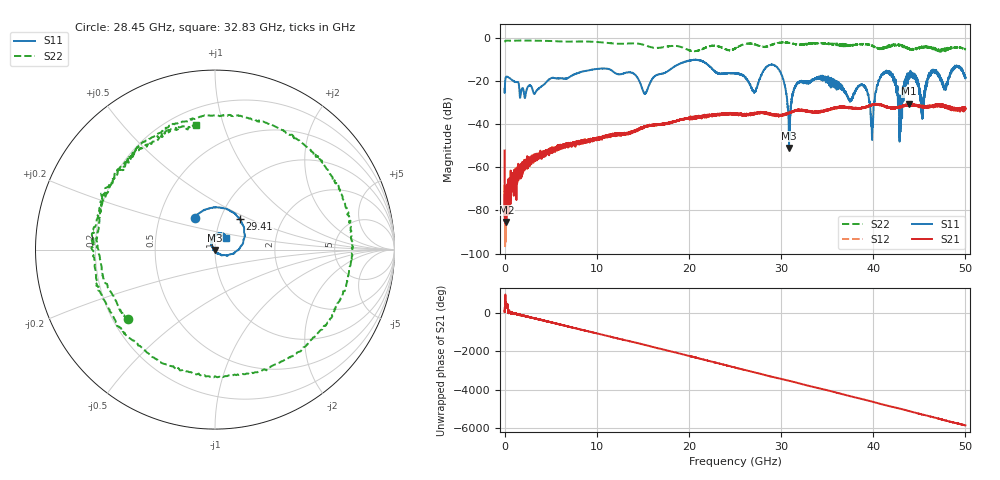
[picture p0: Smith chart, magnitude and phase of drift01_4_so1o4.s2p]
!Created with skrf (http://scikit-rf.org).
# Hz S RI R 50.0
!freq ReS11 ImS11 ReS21 ImS21 ReS12 ImS12 ReS22 ImS22
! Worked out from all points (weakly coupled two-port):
!   10001 points, 300 kHz to 50 GHz, reference 50 ohm
!   highest |S21| = -30.64 dB at 43.9 GHz (marker M1); lowest = -85.4 dB at 190.3 MHz (marker M2)
!   lowest |S11| = -51.1 dB at 30.87 GHz (marker M3), VSWR 1.01, Z = 49.8 - j0.228 ohm
!   |S11| at or under -10 dB: start of sweep to end of sweep
!   |S22| runs from -6.7 to -1.4 dB; largest |S21 - S12| = 0.0041
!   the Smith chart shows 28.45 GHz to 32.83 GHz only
!   S11 on the Smith chart (normalised r, x): 28.45 GHz: 0.75, +0.28; 29.41 GHz: 1.24, +0.44; 32.83 GHz: 1.12, +0.14
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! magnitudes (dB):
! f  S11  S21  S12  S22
! 300 kHz  -23.8  -52.3  -68.2  -2.1
! 190.3 MHz  -18.1  -85.4  -73.4  -1.4
! 2.4 GHz  -24.0  -58.0  -56.8  -1.4
! 8.335 GHz  -15.9  -48.4  -48.4  -1.8
! 15.23 GHz  -26.0  -41.3  -41.3  -3.6
! 16.67 GHz  -17.0  -40.2  -40.3  -4.8
! 25 GHz  -16.6  -35.2  -35.2  -5.2
! 27.11 GHz  -25.1  -35.2  -35.2  -3.2
! 28.45 GHz  -13.5  -34.7  -35.1  -4.1
! 29.41 GHz  -13.2  -35.8  -35.8  -2.7
! 30.87 GHz  -51.1  -34.9  -35.0  -2.5
! 32.83 GHz  -21.0  -34.0  -34.0  -3.1
! 33.34 GHz  -20.0  -34.6  -34.2  -2.7
! 38.92 GHz  -22.3  -32.5  -32.7  -3.0
! 39.88 GHz  -45.4  -31.2  -31.1  -3.8
! 40.61 GHz  -19.8  -31.2  -30.9  -5.1
! 41.67 GHz  -16.4  -32.2  -32.3  -4.4
! 42.92 GHz  -36.0  -32.3  -32.2  -3.6
! 43.9 GHz  -17.7  -30.6  -31.3  -5.1
! 45.33 GHz  -33.7  -31.9  -32.0  -4.7
! 46.46 GHz  -15.3  -31.6  -31.9  -5.0
! 50 GHz  -18.4  -32.8  -32.6  -5.5
